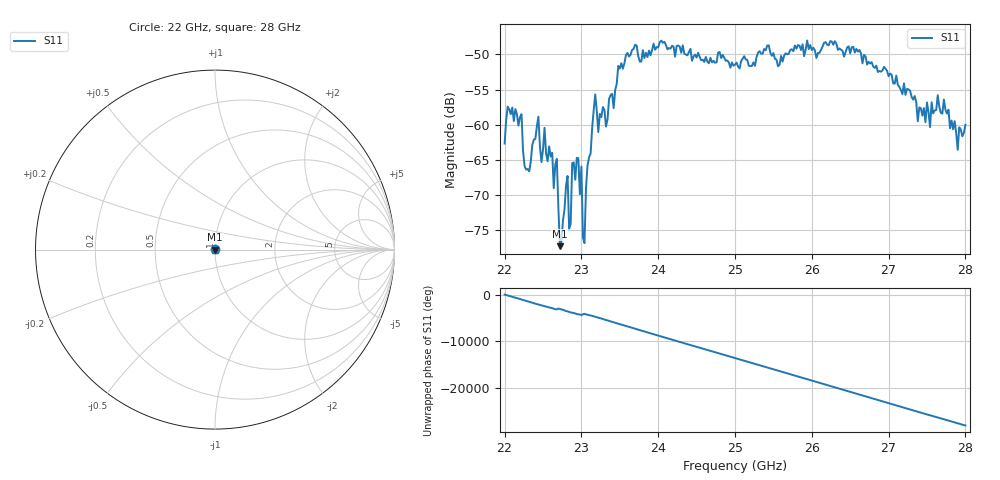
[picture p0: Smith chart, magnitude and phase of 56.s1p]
#  HZ  S  RI  R  50.00
! Rohde & Schwarz ZVA40 4Ports - Version 3.90 - 1145.1110k42 SN: 100403
! Date: 2023-10-04 07:40:46
! Measurement: S12
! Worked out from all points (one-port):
!   301 points, 22 GHz to 28 GHz, reference 50 ohm
!   lowest |S11| = -77.2 dB at 22.72 GHz (marker M1), VSWR 1.00, Z = 50 - j0.0136 ohm
!   |S11| at or under -10 dB: start of sweep to end of sweep
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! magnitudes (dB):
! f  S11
! 22 GHz  -62.7
! 22.04 GHz  -57.4
! 22.22 GHz  -58.5
! 22.32 GHz  -66.6
! 22.52 GHz  -60.4
! 22.64 GHz  -69.0
! 22.68 GHz  -64.8
! 22.72 GHz  -77.2
! 22.76 GHz  -73.6
! 22.82 GHz  -67.3
! 22.86 GHz  -74.1
! 22.88 GHz  -65.5
! 22.96 GHz  -64.7
! 22.98 GHz  -69.9
! 23 GHz  -65.9
! 23.02 GHz  -76.0
! 23.04 GHz  -76.8
! 23.08 GHz  -65.7
! 23.18 GHz  -55.7
! 23.32 GHz  -60.2
! 23.5 GHz  -52.0
! 24.26 GHz  -48.7
! 25 GHz  -51.4
! 25.76 GHz  -49.5
! 26.5 GHz  -49.8
! 27.26 GHz  -55.0
! 27.9 GHz  -63.5
! 28 GHz  -60.0
